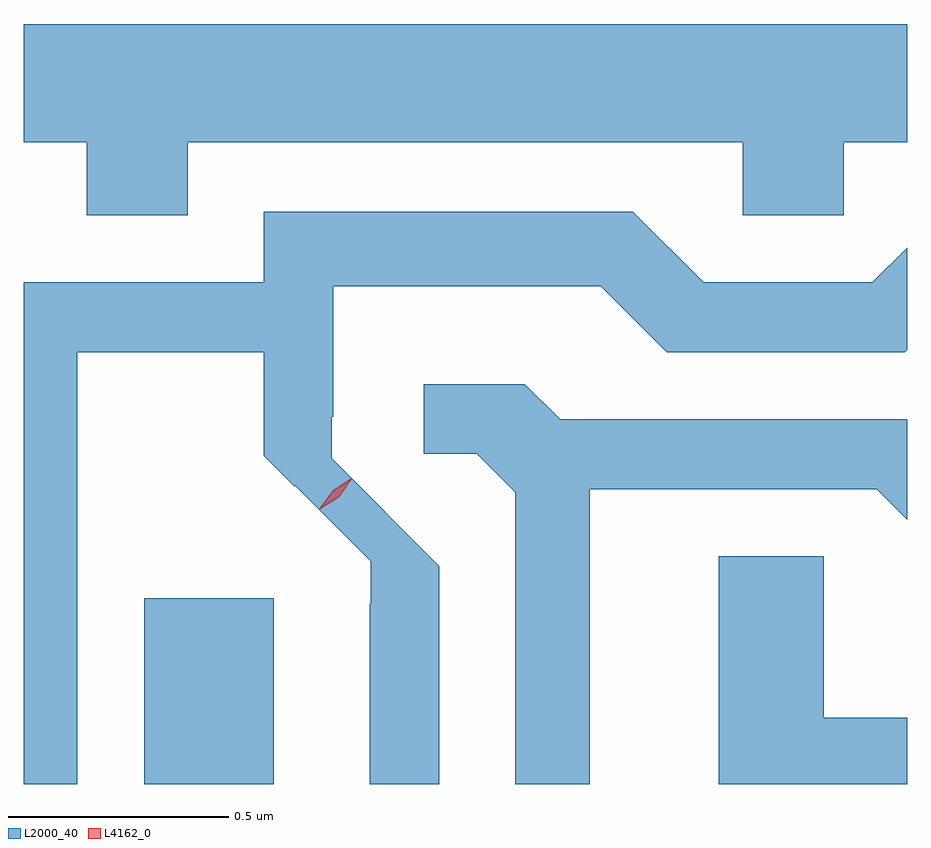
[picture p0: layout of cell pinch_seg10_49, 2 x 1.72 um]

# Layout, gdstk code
import gdstk
lib = gdstk.Library(unit=1e-6, precision=1e-09)
def R(c, l, rs):  # rectangles x0, y0, x1, y1
    for r in rs: c.add(gdstk.rectangle(r[:2], r[2:], *l))
def P(c, l, *ps):  # polygons
    for p in ps: c.add(gdstk.Polygon(p, *l))
L2000_40 = (2000, 40)
L4162_0 = (4162, 0)

pinch_seg10_49 = lib.new_cell('pinch_seg10_49')
R(pinch_seg10_49, L2000_40, [(598.921,2192.384,599.214,2192.804)])
P(pinch_seg10_49, L2000_40, [(599.019,2193.836),(600.276,2193.836),(600.276,2193.671),(600.504,2193.671),(600.504,2193.836),(600.648,2193.836),(600.648,2194.104),(598.648,2194.104),(598.648,2193.836),(598.791,2193.836),(598.791,2193.671),(599.019,2193.671)],
  [(598.769,2193.361),(599.191,2193.361),(599.191,2193.127),(599.261,2193.057),(599.263,2193.059),(599.434,2192.888),(599.434,2192.792),(599.431,2192.792),(599.431,2192.384),(599.589,2192.384),(599.589,2192.877),(599.345,2193.121),(599.345,2193.215),(599.349,2193.215),(599.349,2193.511),(599.954,2193.511),(600.104,2193.361),(600.642,2193.361),(600.648,2193.367),(600.648,2193.598),(600.569,2193.519),(600.187,2193.519),(600.027,2193.679),(599.191,2193.679),(599.191,2193.519),(598.648,2193.519),(598.648,2192.384),(598.769,2192.384)],
  [(599.929,2193.051),(600.579,2193.051),(600.648,2192.982),(600.648,2193.208),(600.647,2193.209),(599.862,2193.209),(599.782,2193.289),(599.553,2193.289),(599.553,2193.131),(599.674,2193.131),(599.761,2193.044),(599.761,2192.384),(599.929,2192.384)],
  [(600.648,2192.534),(600.459,2192.534),(600.459,2192.899),(600.221,2192.899),(600.221,2192.384),(600.648,2192.384)])
P(pinch_seg10_49, L4162_0, [(599.321,2193.01),(599.321,2193.01),(599.347,2193.048),(599.385,2193.072),(599.386,2193.072),(599.386,2193.072),(599.36,2193.034),(599.322,2193.01)],
  [(599.317,2193.006),(599.317,2193.006),(599.347,2193.048),(599.389,2193.076),(599.39,2193.076),(599.39,2193.075),(599.361,2193.033),(599.318,2193.006)])

lib.write_gds('pinch_seg10_49.gds')
